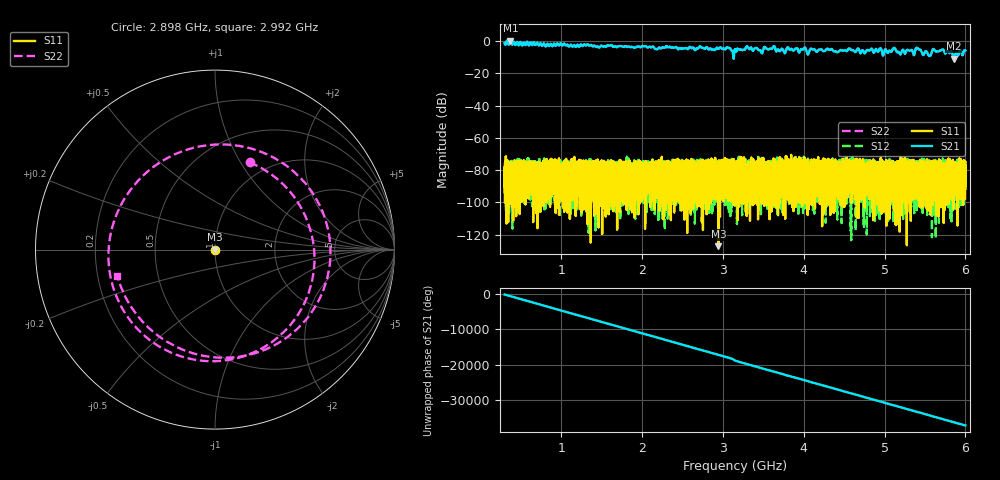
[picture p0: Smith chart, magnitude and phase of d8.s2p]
!Agilent Technologies,N5230C,SG49000117,A.08.50.07
!Agilent N5230C: A.08.50.07
!Date: Sunday, March 17, 2024 02:59:40
!Correction: S11(Off)
!S21(Off)
!S12(Off)
!S22(Off)
!S2P File: Measurements: S11, S21, S12, S22:
# Hz S  RI  R 50
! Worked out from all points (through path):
!   20001 points, 300 MHz to 6 GHz, reference 50 ohm
!   highest |S21| = 0.33 dB at 371.8 MHz (marker M1); lowest = -11.0 dB at 5.856 GHz (marker M2)
!   lowest |S11| = -127.1 dB at 2.945 GHz (marker M3), VSWR 1.00, Z = 50 - j6.91e-06 ohm
!   |S11| at or under -10 dB: start of sweep to end of sweep
!   |S22| runs from -11.0 to 0.4 dB; largest |S21 - S12| = 1
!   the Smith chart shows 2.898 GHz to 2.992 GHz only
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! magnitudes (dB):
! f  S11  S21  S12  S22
! 300 MHz  -90.5  -1.3  -80.1  -1.3
! 371.8 MHz  -83.0  0.3  -82.3  0.4
! 1.25 GHz  -78.8  -2.3  -89.1  -2.3
! 2.2 GHz  -87.2  -4.6  -86.1  -4.6
! 2.945 GHz  -127.1  -4.8  -80.2  -4.8
! 3.15 GHz  -84.5  -5.2  -76.1  -5.2
! 3.312 GHz  -80.7  -4.0  -81.5  -3.9
! 3.469 GHz  -80.8  -6.1  -76.9  -6.0
! 3.618 GHz  -75.9  -4.0  -84.7  -3.9
! 3.759 GHz  -86.6  -7.1  -80.8  -7.0
! 4.056 GHz  -83.5  -8.1  -81.7  -7.9
! 4.1 GHz  -83.0  -5.0  -89.7  -4.9
! 5.05 GHz  -96.6  -6.5  -90.5  -6.4
! 5.118 GHz  -77.3  -4.2  -80.7  -4.2
! 5.18 GHz  -89.1  -7.1  -85.6  -7.1
! 5.354 GHz  -82.3  -7.4  -87.7  -7.4
! 5.412 GHz  -81.5  -4.6  -83.1  -4.6
! 5.553 GHz  -78.8  -9.3  -81.9  -9.3
! 5.608 GHz  -81.2  -5.2  -107.5  -5.2
! 5.707 GHz  -81.3  -5.5  -78.7  -5.5
! 5.856 GHz  -83.8  -11.0  -78.5  -11.0
! 6 GHz  -84.4  -5.8  -85.4  -5.9
